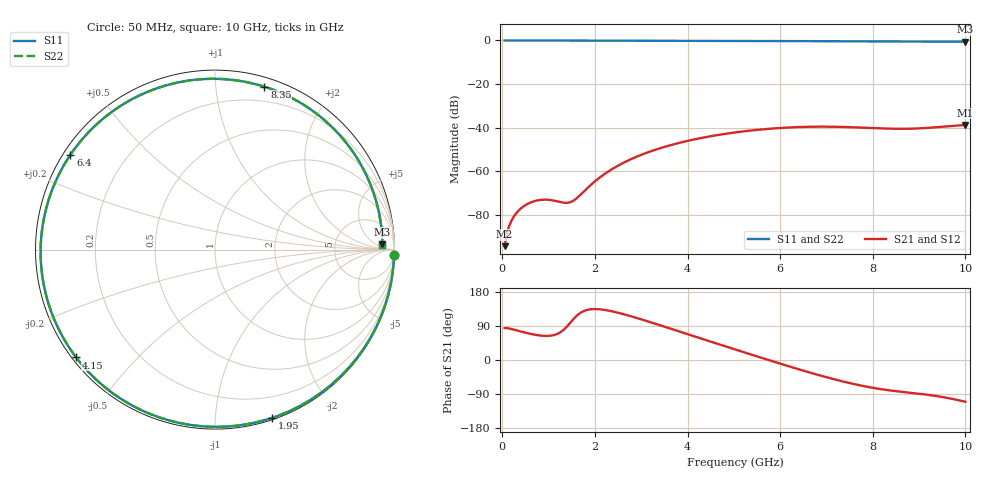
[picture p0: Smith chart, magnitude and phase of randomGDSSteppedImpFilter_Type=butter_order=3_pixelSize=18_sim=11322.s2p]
! freq	dB(S11)	phase(S11)	dB(S12)	phase(S12)
!  dB(S21)	phase(S21)	dB(S22)	phase(S22)
!S-par simulation data
#  GHz  S  DB  R 50
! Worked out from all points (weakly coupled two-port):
!   200 points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, 50 MHz to 10 GHz, reference 50 ohm
!   highest |S21| = -38.79 dB at 10 GHz (marker M1); lowest = -94.4 dB at 50 MHz (marker M2)
!   lowest |S11| = -0.6 dB at 10 GHz (marker M3), VSWR 28.86, Z = 1.21e+03 + j534 ohm
!   |S11| at or under -10 dB: nowhere
!   |S22| runs from -0.6 to 0.0 dB; largest |S21 - S12| = 0
!   S11 on the Smith chart (normalised r, x): 50 MHz: 3, -62; 1.95 GHz: 0.01, -1.39; 4.15 GHz: 0.01, -0.34; 6.4 GHz: 0.02, +0.30; 8.35 GHz: 0.07, +1.35; 10 GHz: 24, +11
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0.05  -0.01 -1.8  -94.36 84.3  -94.36 84.3  -0.01 -1.8
0.25  -0.02 -9.5  -80.74 80.1  -80.74 80.1  -0.02 -9.5
0.5  -0.03 -18.9  -75.51 72.1  -75.51 72.1  -0.03 -18.9
0.75  -0.03 -28.3  -73.41 65.7  -73.41 65.7  -0.03 -28.3
1.45  -0.07 -53.8  -74.30 95.8  -74.30 95.8  -0.07 -53.8
1.75  -0.08 -64.4  -69.52 128.6  -69.52 128.6  -0.08 -64.5
1.95  -0.09 -71.4  -65.54 134.3  -65.54 134.3  -0.09 -71.4
2.6  -0.11 -93.3  -56.29 121.5  -56.29 121.5  -0.11 -93.3
3.4  -0.15 -118.9  -49.49 91.9  -49.49 91.9  -0.15 -119.0
4.15  -0.18 -142.2  -45.38 62.3  -45.38 62.3  -0.18 -142.2
5.05  -0.23 -169.8  -42.13 26.9  -42.13 26.9  -0.23 -169.9
5.75  -0.28 168.2  -40.55 -0.1  -40.55 -0.1  -0.28 168.1
6.4  -0.32 146.7  -39.74 -24.4  -39.74 -24.4  -0.32 146.7
6.7  -0.35 136.4  -39.58 -35.2  -39.58 -35.2  -0.35 136.3
7.15  -0.38 120.2  -39.58 -50.3  -39.58 -50.3  -0.38 120.2
7.6  -0.41 103.3  -39.85 -63.7  -39.85 -63.7  -0.41 103.2
8  -0.44 87.5  -40.20 -73.4  -40.20 -73.4  -0.44 87.4
8.35  -0.46 73.1  -40.46 -79.9  -40.46 -79.9  -0.46 73.0
8.8  -0.49 54.1  -40.49 -86.3  -40.49 -86.3  -0.49 54.0
9.25  -0.52 34.5  -40.01 -92.9  -40.01 -92.9  -0.52 34.5
9.65  -0.56 17.0  -39.33 -101.0  -39.33 -101.0  -0.56 17.0
10  -0.60 1.8  -38.79 -110.2  -38.79 -110.2  -0.60 1.7
